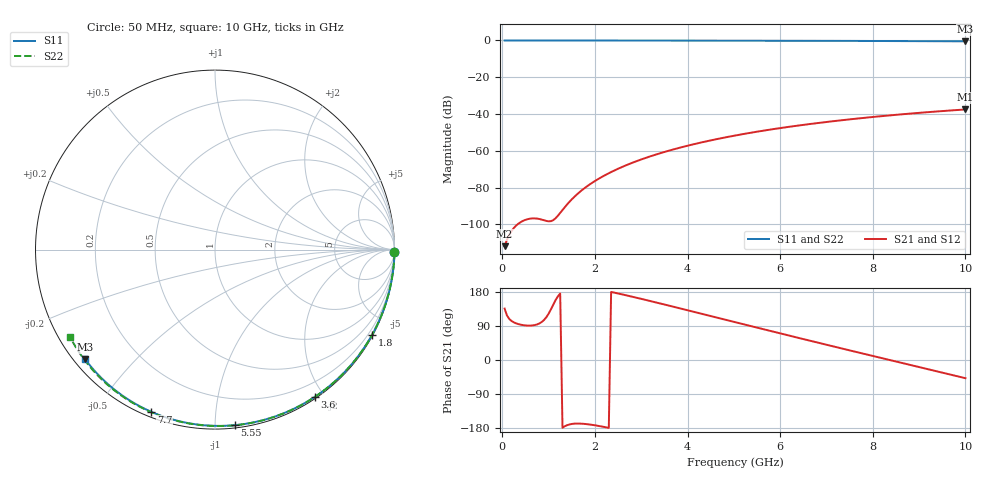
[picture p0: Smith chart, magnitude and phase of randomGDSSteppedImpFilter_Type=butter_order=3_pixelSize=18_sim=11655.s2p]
! freq	dB(S11)	phase(S11)	dB(S12)	phase(S12)
!  dB(S21)	phase(S21)	dB(S22)	phase(S22)
!S-par simulation data
#  GHz  S  DB  R 50
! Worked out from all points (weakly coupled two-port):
!   200 points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, 50 MHz to 10 GHz, reference 50 ohm
!   highest |S21| = -37.53 dB at 10 GHz (marker M1); lowest = -111.9 dB at 50 MHz (marker M2)
!   lowest |S11| = -0.5 dB at 10 GHz (marker M3), VSWR 36.68, Z = 1.55 - j18.3 ohm
!   |S11| at or under -10 dB: nowhere
!   |S22| runs from -0.5 to 0.0 dB; largest |S21 - S12| = 0
!   S11 on the Smith chart (normalised r, x): 50 MHz: open; 1.8 GHz: 0.03, -3.91; 3.6 GHz: 0.02, -1.88; 5.55 GHz: 0.02, -1.12; 7.7 GHz: 0.02, -0.68; 10 GHz: 0.03, -0.37
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0.05  -0.00 -0.8  -111.88 135.7  -111.88 135.7  -0.00 -0.9
0.45  -0.01 -7.3  -98.08 92.0  -98.08 92.0  -0.01 -7.8
0.9  -0.02 -14.5  -97.78 105.4  -97.78 105.4  -0.02 -15.5
1.3  -0.03 -20.8  -92.19 -178.8  -92.19 -178.8  -0.03 -22.2
1.75  -0.04 -27.9  -80.82 -168.4  -80.82 -168.4  -0.04 -29.8
1.8  -0.04 -28.7  -79.86 -168.9  -79.86 -168.9  -0.04 -30.6
1.95  -0.04 -31.0  -77.24 -171.3  -77.24 -171.3  -0.04 -33.1
2.1  -0.04 -33.3  -74.93 -174.4  -74.93 -174.4  -0.05 -35.6
2.3  -0.05 -36.4  -72.20 -179.2  -72.20 -179.2  -0.05 -38.8
2.5  -0.05 -39.5  -69.78 175.6  -69.78 175.6  -0.05 -42.1
2.9  -0.06 -45.6  -65.64 164.3  -65.64 164.3  -0.06 -48.6
3.4  -0.07 -53.0  -61.40 149.5  -61.40 149.5  -0.08 -56.5
3.6  -0.08 -56.0  -59.92 143.5  -59.92 143.5  -0.08 -59.6
4.3  -0.09 -66.1  -55.46 122.1  -55.46 122.1  -0.10 -70.4
5.05  -0.12 -76.6  -51.60 99.2  -51.60 99.2  -0.13 -81.5
5.55  -0.14 -83.5  -49.41 83.9  -49.41 83.9  -0.15 -88.8
6.1  -0.16 -90.9  -47.29 67.2  -47.29 67.2  -0.17 -96.6
6.7  -0.19 -98.7  -45.26 49.2  -45.26 49.2  -0.20 -104.9
7.7  -0.26 -111.4  -42.38 19.5  -42.38 19.5  -0.27 -118.4
8.35  -0.31 -119.5  -40.78 0.4  -40.78 0.4  -0.33 -127.0
9.2  -0.39 -130.0  -38.97 -24.5  -38.97 -24.5  -0.41 -138.2
10  -0.47 -139.7  -37.53 -48.0  -37.53 -48.0  -0.51 -148.8
